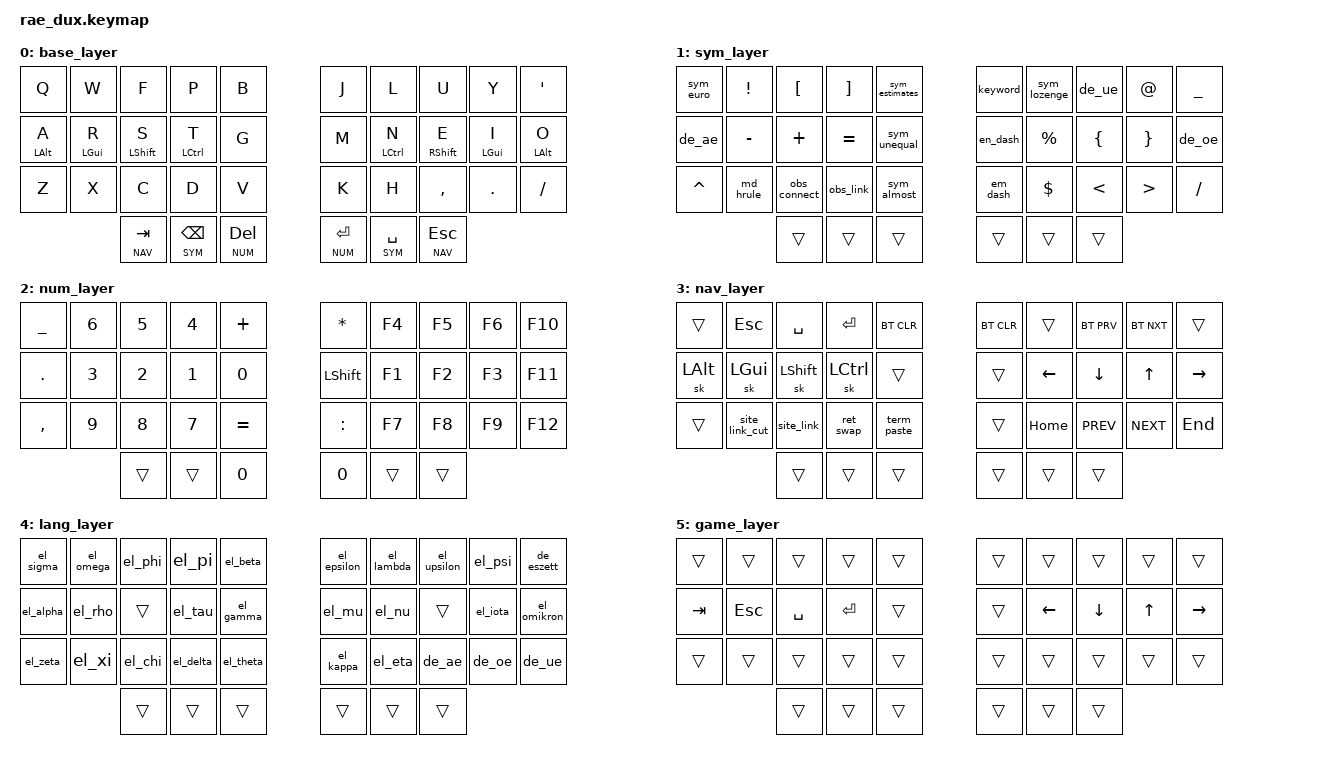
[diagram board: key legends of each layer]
/*
 * Copyright (c) 2021 The ZMK Contributors
 *
 * SPDX-License-Identifier: MIT
 */

#include <behaviors.dtsi>
#include <dt-bindings/zmk/bt.h>
#include <dt-bindings/zmk/keys.h>

#define HOST_OS 1
#include "../zmk-nodefree-config/helper.h"
#include "../zmk-nodefree-config/international_chars/greek.dtsi"
#include "../zmk-nodefree-config/international_chars/german.dtsi"

&sk {
    release-after-ms = <750>;
    quick-release;
};

&caps_word {
    continue-list = <UNDERSCORE MINUS BSPC>;
};

#define ___ &trans

#define BASE_L  0
#define SYM   1
#define NUM   2
#define NAV   3
#define LANG_L  4
#define GAME_L  5

#define KEYS_LEFT 0 1 2 3 4 10 11 12 13 14 20 21 22 23 24  // left hand
#define KEYS_RIGHT 5 6 7 8 9 15 16 17 18 19 25 26 27 28 29  // right hand
#define THUMBS 30 31 32 33 34 35                        // thumbs

ZMK_UNICODE_SINGLE(sym_lozenge, N2, N5, C, A)
ZMK_UNICODE_SINGLE(sym_estimates, N2, N2, N5, N9)
ZMK_UNICODE_SINGLE(sym_unequal, N2, N2, N6, N0)
ZMK_UNICODE_SINGLE(sym_almost, N2, N2, N4, N8)
ZMK_UNICODE_SINGLE(sym_euro, N2, N0, A, C)
ZMK_UNICODE_SINGLE(en_dash, N2, N0, N1, N3)
ZMK_UNICODE_SINGLE(em_dash, N2, N0, N1, N4)

/ {
    macros {
        ZMK_MACRO(scope, wait-ms = <1>; tap-ms = <1>; bindings = <&kp COLON &kp COLON>;)
        ZMK_MACRO(keyword, wait-ms = <1>; tap-ms = <1>; bindings = <&kp HASH &kp COLON>;)
        ZMK_MACRO(site_link, wait-ms = <20>; tap-ms = <20>; bindings = <&kp LC(L) &kp LC(C) &kp LG(TAB) &kp LC(V)>;)
        ZMK_MACRO(site_link_cut, wait-ms = <20>; tap-ms = <20>; bindings = <&kp LC(L) &kp LC(C) &kp LC(W) &kp LG(TAB) &kp LC(V)>;)
        ZMK_MACRO(ret_swap, wait-ms = <20>; tap-ms = <20>; bindings = <&kp RET &kp LG(TAB)>;)
        ZMK_MACRO(term_paste, wait-ms = <1>; tap-ms = <1>; bindings = <&kp LC(LS(V))>;)
        ZMK_MACRO(obs_connect, wait-ms = <1>; tap-ms = <1>; bindings = <&kp MINUS &kp LT &kp GT &kp MINUS &kp SPC>;)
        ZMK_MACRO(obs_link, wait-ms = <1>; tap-ms = <1>; bindings = <&kp LBKT &kp LBKT>;)
        ZMK_MACRO(md_hrule, wait-ms = <1>; tap-ms = <1>; bindings = <&kp MINUS &kp MINUS &kp MINUS>;)
    };

    combos {
        compatible = "zmk,combos";

        #define COMBO(NAME, BINDINGS, KEYPOS, TIMEOUT) \
              combo_##NAME { \
                timeout-ms = <TIMEOUT>; \
                bindings = <BINDINGS>; \
                key-positions = <KEYPOS>; \
              };

        /*                KEY POSITIONS

          ╭────────────────────╮ ╭────────────────────╮
          │  0   1   2   3   4 │ │  5   6   7   8   9 │
          │ 10  11  12  13  14 │ │ 15  16  17  18  19 │
          │ 20  21  22  23  24 │ │ 25  26  27  28  29 │
          ╰───────╮ 30  31  32 │ │ 33  34  35 ╭───────╯
                  ╰────────────╯ ╰────────────╯        */

        #define COMBO_TIME 20


        COMBO(excl, &kp EXCL, 1 11, COMBO_TIME)
        COMBO(grave, &kp GRAVE, 2 12, COMBO_TIME)
        COMBO(scope, &scope, 3 13, COMBO_TIME)
        COMBO(caret, &kp CARET, 4 14, COMBO_TIME)
        COMBO(lpar, &kp LPAR, 11 12, COMBO_TIME)
        COMBO(lbrc, &kp LBRC, 11 13, COMBO_TIME)
        COMBO(lbkt, &kp LBKT, 12 13, COMBO_TIME)
        // COMBO(..., &kp .., 13 14, COMBO_TIME)
        COMBO(super_r, &kp LG(R), 11 21, COMBO_TIME)
        COMBO(bslash, &kp BSLH, 12 22, COMBO_TIME)
        COMBO(pipe, &kp PIPE, 13 23, COMBO_TIME)
        COMBO(tilde, &kp TILDE, 14 24, COMBO_TIME)
        COMBO(equal, &kp EQUAL, 21 22, COMBO_TIME)
        COMBO(underscore, &kp UNDER, 22 23, COMBO_TIME)

        COMBO(switch_lang, &sl LANG_L, 21 23, COMBO_TIME)
        COMBO(toggle_game_layer, &tog GAME_L, 20 23, COMBO_TIME)

        COMBO(percent, &kp PRCNT, 5 15, COMBO_TIME)
        COMBO(hash, &kp HASH, 6 16, COMBO_TIME)
        COMBO(semicolon, &kp SEMI, 7 17, COMBO_TIME)
        COMBO(at, &kp AT, 8 18, COMBO_TIME)
        // COMBO(..., &.., 15 16, COMBO_TIME)
        COMBO(rbkt, &kp RBKT, 16 17, COMBO_TIME)
        COMBO(rbrc, &kp RBRC, 16 18, COMBO_TIME)
        COMBO(rpar, &kp RPAR, 17 18, COMBO_TIME)
        COMBO(dollar, &kp DLLR, 15 25, COMBO_TIME)
        COMBO(ampersand, &kp AMPS, 16 26, COMBO_TIME)
        COMBO(star, &kp STAR, 17 27, COMBO_TIME)
        COMBO(plus, &kp PLUS, 18 28, COMBO_TIME)
        COMBO(minus, &kp MINUS, 26 27, COMBO_TIME)
        COMBO(caps_word, &caps_word, 26 28, COMBO_TIME)
        COMBO(colon, &kp COLON, 27 28, COMBO_TIME)

    };

    behaviors {
        lhm: left_hand_positional_hold_tap {
            compatible = "zmk,behavior-hold-tap";
            label = "LEFT_POSITIONAL_HOLD_TAP";
            #binding-cells = <2>;
            flavor = "balanced";
            tapping-term-ms = <230>;
            quick-tap-ms = <100>;
            global-quick-tap;
            bindings = <&kp>, <&kp>;
            hold-trigger-key-positions = <KEYS_RIGHT THUMBS>;
        };

        rhm: right_hand_positional_hold_tap {
            compatible = "zmk,behavior-hold-tap";
            label = "RIGHT_POSITIONAL_HOLD_TAP";
            #binding-cells = <2>;
            flavor = "balanced";
            tapping-term-ms = <230>;
            quick-tap-ms = <100>;
            global-quick-tap;
            bindings = <&kp>, <&kp>;
            hold-trigger-key-positions = <KEYS_LEFT THUMBS>;
        };
    };

    keymap {
        compatible = "zmk,keymap";

        base_layer {
            bindings = <
                // ╭─────────────┬─────────────┬─────────────┬─────────────┬─────────────╮╭─────────────┬─────────────┬─────────────┬─────────────┬─────────────╮
                     &kp Q         &kp W         &kp F         &kp P         &kp B          &kp J         &kp L         &kp U         &kp Y         &kp APOS
                // ├─────────────┼─────────────┼─────────────┼─────────────┼─────────────┤├─────────────┼─────────────┼─────────────┼─────────────┼─────────────┤
                     &lhm LALT A   &lhm LGUI R   &lhm LSHFT S  &lhm LCTRL T  &kp G          &kp M         &rhm LCTRL N  &rhm RSHFT E  &rhm LGUI I   &rhm LALT O
                // ├─────────────┼─────────────┼─────────────┼─────────────┼─────────────┤├─────────────┼─────────────┼─────────────┼─────────────┼─────────────┤
                     &kp Z         &kp X         &kp C         &kp D         &kp V          &kp K         &kp H         &kp COMMA     &kp DOT       &kp FSLH
                // ╰─────────────┼─────────────┴─────────────┼─────────────┼─────────────┤├─────────────┼─────────────┼─────────────┴───────────────────────────╯
             /*&            &*/              &lt NAV TAB   &lt SYM BSPC  &lt NUM DEL    &lt NUM RET   &lt SYM SPC   &lt NAV ESC  /*&             &*/
                //                             ╰─────────────┴─────────────┴─────────────╯╰─────────────┴─────────────┴─────────────╯                             
            >;
        };

        sym_layer {
            bindings = <
                // ╭─────────────┬─────────────┬─────────────┬─────────────┬─────────────╮╭─────────────┬─────────────┬─────────────┬─────────────┬─────────────╮
                    &sym_euro      &kp EXCL      &kp LBKT      &kp RBKT      &sym_estimates &keyword   &sym_lozenge  &de_ue        &kp AT        &kp UNDER
                // ├─────────────┼─────────────┼─────────────┼─────────────┼─────────────┤├─────────────┼─────────────┼─────────────┼─────────────┼─────────────┤
                    &de_ae         &kp MINUS     &kp PLUS      &kp EQUAL     &sym_unequal   &en_dash   &kp PRCNT     &kp LBRC      &kp RBRC      &de_oe 
                // ├─────────────┼─────────────┼─────────────┼─────────────┼─────────────┤├─────────────┼─────────────┼─────────────┼─────────────┼─────────────┤
                    &kp CARET      &md_hrule     &obs_connect  &obs_link     &sym_almost    &em_dash       &kp DLLR      &kp LT        &kp GT        &kp FSLH
                // ╰─────────────┼─────────────┴─────────────┼─────────────┼─────────────┤├─────────────┼─────────────┼─────────────┴───────────────────────────╯
             /*&            &*/               ___           ___           ___            ___           ___           ___          /*&             &*/
                //                             ╰─────────────┴─────────────┴─────────────╯╰─────────────┴─────────────┴─────────────╯                             
            >;
        };

        num_layer {
            bindings = <
                // ╭─────────────┬─────────────┬─────────────┬─────────────┬─────────────╮╭─────────────┬─────────────┬─────────────┬─────────────┬─────────────╮
                     &kp UNDER     &kp N6        &kp N5        &kp N4        &kp PLUS       &kp STAR      &kp F4        &kp F5        &kp F6        &kp F10
                // ├─────────────┼─────────────┼─────────────┼─────────────┼─────────────┤├─────────────┼─────────────┼─────────────┼─────────────┼─────────────┤
                     &kp DOT       &kp N3        &kp N2        &kp N1        &kp N0         &kp LSHFT     &kp F1        &kp F2        &kp F3        &kp F11
                // ├─────────────┼─────────────┼─────────────┼─────────────┼─────────────┤├─────────────┼─────────────┼─────────────┼─────────────┼─────────────┤
                     &kp COMMA     &kp N9        &kp N8        &kp N7        &kp EQUAL      &kp COLON     &kp F7        &kp F8        &kp F9        &kp F12
                // ╰─────────────┼─────────────┴─────────────┼─────────────┼─────────────┤├─────────────┼─────────────┼─────────────┴───────────────────────────╯
             /*&            &*/               ___           ___           &kp N0         &kp N0        ___           ___          /*&             &*/
                //                             ╰─────────────┴─────────────┴─────────────╯╰─────────────┴─────────────┴─────────────╯                             
            >;
        };

        nav_layer {
            bindings = <
                // ╭─────────────┬─────────────┬─────────────┬─────────────┬─────────────╮╭─────────────┬─────────────┬─────────────┬─────────────┬─────────────╮
                     ___           &kp ESC       &kp SPC       &kp RET       &bt BT_CLR     &bt BT_CLR    ___           &bt BT_PRV    &bt BT_NXT    ___  
                // ├─────────────┼─────────────┼─────────────┼─────────────┼─────────────┤├─────────────┼─────────────┼─────────────┼─────────────┼─────────────┤
                     &sk LALT      &sk LGUI      &sk LSHFT     &sk LCTRL     ___            ___           &kp LEFT      &kp DOWN      &kp UP        &kp RIGHT
                // ├─────────────┼─────────────┼─────────────┼─────────────┼─────────────┤├─────────────┼─────────────┼─────────────┼─────────────┼─────────────┤
                     ___          &site_link_cut &site_link    &ret_swap     &term_paste    ___           &kp HOME      &kp K_PREV    &kp K_NEXT    &kp END
                // ╰─────────────┼─────────────┴─────────────┼─────────────┼─────────────┤├─────────────┼─────────────┼─────────────┴───────────────────────────╯
             /*&            &*/               ___           ___           ___            ___           ___           ___          /*&             &*/
                //                             ╰─────────────┴─────────────┴─────────────╯╰─────────────┴─────────────┴─────────────╯                             
            >;
        };

        lang_layer {
            bindings = <
                // ╭─────────────┬─────────────┬─────────────┬─────────────┬─────────────╮╭─────────────┬─────────────┬─────────────┬─────────────┬─────────────╮
                     &el_sigma     &el_omega     &el_phi       &el_pi        &el_beta       &el_epsilon   &el_lambda    &el_upsilon   &el_psi       &de_eszett   
                // ├─────────────┼─────────────┼─────────────┼─────────────┼─────────────┤├─────────────┼─────────────┼─────────────┼─────────────┼─────────────┤
                     &el_alpha     &el_rho       ___           &el_tau       &el_gamma      &el_mu        &el_nu        ___           &el_iota      &el_omikron  
                // ├─────────────┼─────────────┼─────────────┼─────────────┼─────────────┤├─────────────┼─────────────┼─────────────┼─────────────┼─────────────┤
                     &el_zeta      &el_xi        &el_chi       &el_delta     &el_theta      &el_kappa     &el_eta       &de_ae        &de_oe        &de_ue       
                // ╰─────────────┼─────────────┴─────────────┼─────────────┼─────────────┤├─────────────┼─────────────┼─────────────┴───────────────────────────╯
                                                 ___           ___           ___            ___           ___           ___         
                //                             ╰─────────────┴─────────────┴─────────────╯╰─────────────┴─────────────┴─────────────╯                             
            >;
        };

        game_layer {
            bindings = <
                // ╭─────────────┬─────────────┬─────────────┬─────────────┬─────────────╮╭─────────────┬─────────────┬─────────────┬─────────────┬─────────────╮
                    ___           ___           ___           ___           ___            ___           ___           ___           ___           ___
                // ├─────────────┼─────────────┼─────────────┼─────────────┼─────────────┤├─────────────┼─────────────┼─────────────┼─────────────┼─────────────┤
                    &kp TAB        &kp ESC       &kp SPC       &kp RET       ___            ___           &kp LEFT      &kp DOWN      &kp UP        &kp RIGHT
                // ├─────────────┼─────────────┼─────────────┼─────────────┼─────────────┤├─────────────┼─────────────┼─────────────┼─────────────┼─────────────┤
                    ___            ___           ___           ___           ___            ___           ___           ___           ___           ___
                // ╰─────────────┼─────────────┼─────────────┼─────────────┼─────────────┤├─────────────┼─────────────┼─────────────┼─────────────┼─────────────┤
                                                ___           ___           ___            ___           ___           ___
                //                             ╰─────────────┴─────────────┴─────────────╯╰─────────────┴─────────────┴─────────────╯
            >;
        };
    };
};
